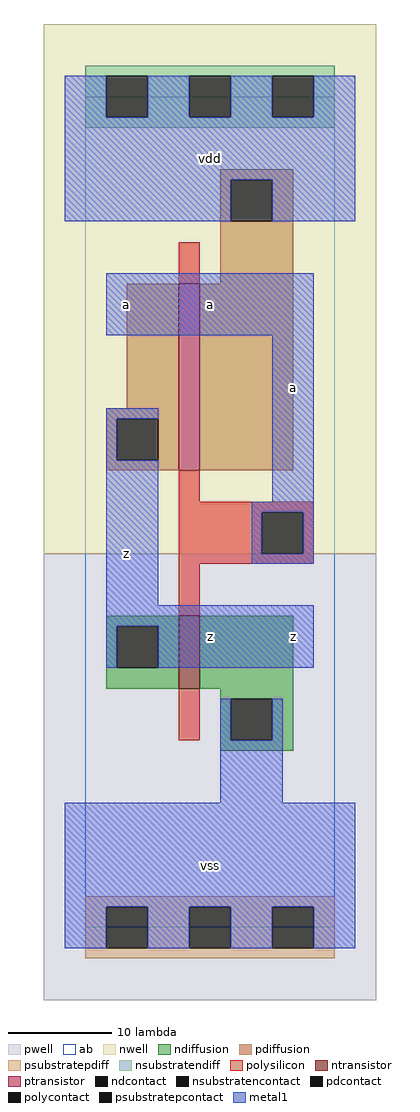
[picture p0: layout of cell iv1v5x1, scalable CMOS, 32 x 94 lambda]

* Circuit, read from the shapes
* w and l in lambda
.subckt iv1v5x1 a vdd vss z
M1 vss a z vss nfet w=7 l=2
M2 vdd a z vdd pfet w=18 l=2
.ends

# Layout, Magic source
magic
tech scmos
<< ab >>
rect 0 0 24 80
<< pwell >>
rect -4 -7 28 36
<< nwell >>
rect -4 36 28 87
<< polysilicon >>
rect 9 62 11 66
rect 9 41 11 44
rect 9 40 22 41
rect 9 36 17 40
rect 21 36 22 40
rect 9 35 22 36
rect 9 30 11 35
rect 9 18 11 23
<< ndiffusion >>
rect 2 29 9 30
rect 2 25 3 29
rect 7 25 9 29
rect 2 23 9 25
rect 11 23 20 30
rect 13 22 20 23
rect 13 18 14 22
rect 18 18 20 22
rect 13 17 20 18
<< pdiffusion >>
rect 13 72 20 73
rect 13 68 14 72
rect 18 68 20 72
rect 13 62 20 68
rect 4 50 9 62
rect 2 49 9 50
rect 2 45 3 49
rect 7 45 9 49
rect 2 44 9 45
rect 11 44 20 62
<< metal1 >>
rect -2 78 2 82
rect 6 78 10 82
rect 14 78 18 82
rect 22 78 26 82
rect -2 72 26 78
rect -2 68 14 72
rect 18 68 26 72
rect 2 57 22 63
rect 2 49 7 50
rect 2 45 3 49
rect 2 31 7 45
rect 18 41 22 57
rect 16 40 22 41
rect 16 36 17 40
rect 21 36 22 40
rect 16 35 22 36
rect 2 29 22 31
rect 2 25 3 29
rect 7 25 22 29
rect 13 18 14 22
rect 18 18 19 22
rect 13 12 19 18
rect -2 2 26 12
rect -2 -2 2 2
rect 6 -2 10 2
rect 14 -2 18 2
rect 22 -2 26 2
<< ntransistor >>
rect 9 23 11 30
<< ptransistor >>
rect 9 44 11 62
<< polycontact >>
rect 17 36 21 40
<< ndcontact >>
rect 3 25 7 29
rect 14 18 18 22
<< pdcontact >>
rect 14 68 18 72
rect 3 45 7 49
<< psubstratepcontact >>
rect 2 -2 6 2
rect 10 -2 14 2
rect 18 -2 22 2
<< nsubstratencontact >>
rect 2 78 6 82
rect 10 78 14 82
rect 18 78 22 82
<< psubstratepdiff >>
rect 0 2 24 3
rect 0 -2 2 2
rect 6 -2 10 2
rect 14 -2 18 2
rect 22 -2 24 2
rect 0 -3 24 -2
<< nsubstratendiff >>
rect 0 82 24 83
rect 0 78 2 82
rect 6 78 10 82
rect 14 78 18 82
rect 22 78 24 82
rect 0 77 24 78
<< labels >>
rlabel metal1 4 36 4 36 6 z
rlabel metal1 4 60 4 60 6 a
rlabel metal1 12 6 12 6 6 vss
rlabel metal1 12 28 12 28 6 z
rlabel metal1 12 60 12 60 6 a
rlabel metal1 12 74 12 74 6 vdd
rlabel metal1 20 28 20 28 6 z
rlabel metal1 20 52 20 52 6 a
<< end >>
